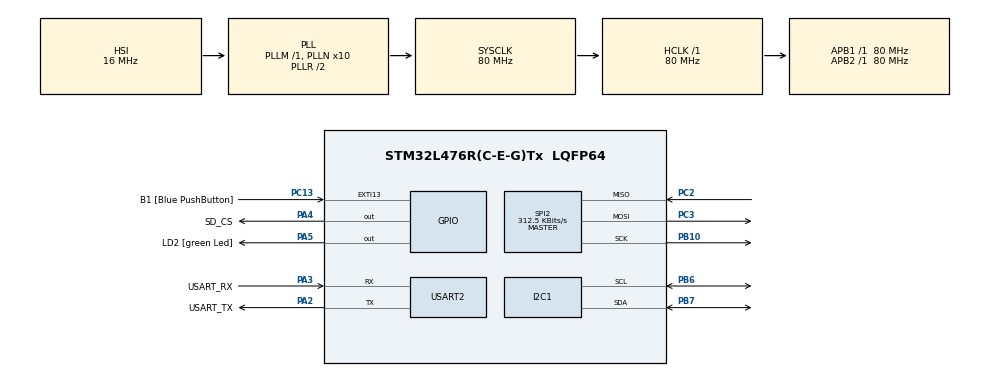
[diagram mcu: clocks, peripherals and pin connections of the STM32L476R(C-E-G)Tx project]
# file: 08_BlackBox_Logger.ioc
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Dma.I2C1_RX.2.Direction=DMA_PERIPH_TO_MEMORY
Dma.I2C1_RX.2.Instance=DMA2_Channel6
Dma.I2C1_RX.2.MemDataAlignment=DMA_MDATAALIGN_BYTE
Dma.I2C1_RX.2.MemInc=DMA_MINC_ENABLE
Dma.I2C1_RX.2.Mode=DMA_NORMAL
Dma.I2C1_RX.2.PeriphDataAlignment=DMA_PDATAALIGN_BYTE
Dma.I2C1_RX.2.PeriphInc=DMA_PINC_DISABLE
Dma.I2C1_RX.2.Priority=DMA_PRIORITY_LOW
Dma.I2C1_TX.3.Direction=DMA_MEMORY_TO_PERIPH
Dma.I2C1_TX.3.Instance=DMA2_Channel7
Dma.I2C1_TX.3.MemDataAlignment=DMA_MDATAALIGN_BYTE
Dma.I2C1_TX.3.MemInc=DMA_MINC_ENABLE
Dma.I2C1_TX.3.Mode=DMA_NORMAL
Dma.I2C1_TX.3.PeriphDataAlignment=DMA_PDATAALIGN_BYTE
Dma.I2C1_TX.3.PeriphInc=DMA_PINC_DISABLE
Dma.I2C1_TX.3.Priority=DMA_PRIORITY_LOW
Dma.Request0=USART2_RX
Dma.Request1=USART2_TX
Dma.Request2=I2C1_RX
Dma.Request3=I2C1_TX
Dma.Request4=SPI2_RX
Dma.Request5=SPI2_TX
Dma.SPI2_RX.4.Direction=DMA_PERIPH_TO_MEMORY
Dma.SPI2_RX.4.Instance=DMA1_Channel4
Dma.SPI2_RX.4.MemDataAlignment=DMA_MDATAALIGN_BYTE
Dma.SPI2_RX.4.MemInc=DMA_MINC_ENABLE
Dma.SPI2_RX.4.Mode=DMA_NORMAL
Dma.SPI2_RX.4.PeriphDataAlignment=DMA_PDATAALIGN_BYTE
Dma.SPI2_RX.4.PeriphInc=DMA_PINC_DISABLE
Dma.SPI2_RX.4.Priority=DMA_PRIORITY_LOW
Dma.SPI2_TX.5.Direction=DMA_MEMORY_TO_PERIPH
Dma.SPI2_TX.5.Instance=DMA1_Channel5
Dma.SPI2_TX.5.MemDataAlignment=DMA_MDATAALIGN_BYTE
Dma.SPI2_TX.5.MemInc=DMA_MINC_ENABLE
Dma.SPI2_TX.5.Mode=DMA_NORMAL
Dma.SPI2_TX.5.PeriphDataAlignment=DMA_PDATAALIGN_BYTE
Dma.SPI2_TX.5.PeriphInc=DMA_PINC_DISABLE
Dma.SPI2_TX.5.Priority=DMA_PRIORITY_LOW
Dma.USART2_RX.0.Direction=DMA_PERIPH_TO_MEMORY
Dma.USART2_RX.0.Instance=DMA1_Channel6
Dma.USART2_RX.0.MemDataAlignment=DMA_MDATAALIGN_BYTE
Dma.USART2_RX.0.MemInc=DMA_MINC_ENABLE
Dma.USART2_RX.0.Mode=DMA_NORMAL
Dma.USART2_RX.0.PeriphDataAlignment=DMA_PDATAALIGN_BYTE
Dma.USART2_RX.0.PeriphInc=DMA_PINC_DISABLE
Dma.USART2_RX.0.Priority=DMA_PRIORITY_LOW
Dma.USART2_TX.1.Direction=DMA_MEMORY_TO_PERIPH
Dma.USART2_TX.1.Instance=DMA1_Channel7
Dma.USART2_TX.1.MemDataAlignment=DMA_MDATAALIGN_BYTE
Dma.USART2_TX.1.MemInc=DMA_MINC_ENABLE
Dma.USART2_TX.1.Mode=DMA_NORMAL
Dma.USART2_TX.1.PeriphDataAlignment=DMA_PDATAALIGN_BYTE
Dma.USART2_TX.1.PeriphInc=DMA_PINC_DISABLE
Dma.USART2_TX.1.Priority=DMA_PRIORITY_LOW
FATFS._MAX_SS=4096
I2C1.Timing=0x10D19CE4
Mcu.Family=STM32L4
Mcu.Name=STM32L476R(C-E-G)Tx
Mcu.Package=LQFP64
NVIC.DMA1_Channel4_IRQn=true\:0\:0\:false\:false\:true\:false\:true\:true
NVIC.DMA1_Channel5_IRQn=true\:0\:0\:false\:false\:true\:false\:true\:true
NVIC.DMA1_Channel6_IRQn=true\:0\:0\:false\:false\:true\:false\:true\:true
NVIC.DMA1_Channel7_IRQn=true\:0\:0\:false\:false\:true\:false\:true\:true
NVIC.DMA2_Channel6_IRQn=true\:0\:0\:false\:false\:true\:false\:true\:true
NVIC.DMA2_Channel7_IRQn=true\:0\:0\:false\:false\:true\:false\:true\:true
NVIC.I2C1_ER_IRQn=true\:0\:0\:false\:false\:true\:true\:true\:true
NVIC.I2C1_EV_IRQn=true\:0\:0\:false\:false\:true\:true\:true\:true
NVIC.PriorityGroup=NVIC_PRIORITYGROUP_4
NVIC.SPI2_IRQn=true\:0\:0\:false\:false\:true\:true\:true\:true
NVIC.USART2_IRQn=true\:0\:0\:false\:false\:true\:true\:true\:true
PA13\ (JTMS-SWDIO).GPIO_Label=TMS
PA13\ (JTMS-SWDIO).Mode=Serial_Wire
PA13\ (JTMS-SWDIO).Signal=SYS_JTMS-SWDIO
PA14\ (JTCK-SWCLK).GPIO_Label=TCK
PA14\ (JTCK-SWCLK).Mode=Serial_Wire
PA14\ (JTCK-SWCLK).Signal=SYS_JTCK-SWCLK
PA2.GPIO_Label=USART_TX
PA2.GPIO_Mode=GPIO_MODE_AF_PP
PA2.GPIO_PuPd=GPIO_NOPULL
PA2.GPIO_Speed=GPIO_SPEED_FREQ_VERY_HIGH
PA2.Mode=Asynchronous
PA2.Signal=USART2_TX
PA3.GPIO_Label=USART_RX
PA3.GPIO_Mode=GPIO_MODE_AF_PP
PA3.GPIO_PuPd=GPIO_NOPULL
PA3.GPIO_Speed=GPIO_SPEED_FREQ_VERY_HIGH
PA3.Mode=Asynchronous
PA3.Signal=USART2_RX
PA4.GPIO_Label=SD_CS
PA4.Signal=GPIO_Output
PA5.GPIO_Label=LD2 [green Led]
PA5.GPIO_ModeDefaultOutputPP=GPIO_MODE_OUTPUT_PP
PA5.GPIO_PuPd=GPIO_NOPULL
PA5.GPIO_Speed=GPIO_SPEED_FREQ_LOW
PA5.Signal=GPIO_Output
PB10.Mode=Full_Duplex_Master
PB10.Signal=SPI2_SCK
PB3\ (JTDO-TRACESWO).GPIO_Label=SWO
PB3\ (JTDO-TRACESWO).Signal=SYS_JTDO-SWO
PB6.Mode=I2C
PB6.Signal=I2C1_SCL
PB7.Mode=I2C
PB7.Signal=I2C1_SDA
PC13.GPIO_Label=B1 [Blue PushButton]
PC13.GPIO_ModeDefaultEXTI=GPIO_MODE_IT_FALLING
PC13.GPIO_PuPd=GPIO_NOPULL
PC13.Signal=GPXTI13
PC14-OSC32_IN\ (PC14).Mode=LSE-External-Oscillator
PC14-OSC32_IN\ (PC14).Signal=RCC_OSC32_IN
PC15-OSC32_OUT\ (PC15).Mode=LSE-External-Oscillator
PC15-OSC32_OUT\ (PC15).Signal=RCC_OSC32_OUT
PC2.Mode=Full_Duplex_Master
PC2.Signal=SPI2_MISO
PC3.Mode=Full_Duplex_Master
PC3.Signal=SPI2_MOSI
PH0-OSC_IN\ (PH0).Signal=RCC_OSC_IN
PH1-OSC_OUT\ (PH1).Signal=RCC_OSC_OUT
ProjectManager.HeapSize=0x200
ProjectManager.StackSize=0x400
ProjectManager.TargetToolchain=STM32CubeIDE
RCC.ADCFreq_Value=64000000
RCC.AHBFreq_Value=80000000
RCC.APB1Freq_Value=80000000
RCC.APB1TimFreq_Value=80000000
RCC.APB2Freq_Value=80000000
RCC.APB2TimFreq_Value=80000000
RCC.CortexFreq_Value=80000000
RCC.HCLKFreq_Value=80000000
RCC.HSE_VALUE=8000000
RCC.HSI_VALUE=16000000
RCC.MSI_VALUE=4000000
RCC.PLLN=10
RCC.PLLSourceVirtual=RCC_PLLSOURCE_HSI
RCC.PREFETCH_ENABLE=1
RCC.SYSCLKFreq_VALUE=80000000
RCC.SYSCLKSource=RCC_SYSCLKSOURCE_PLLCLK
RCC.USBFreq_Value=64000000
RCC.VCOOutputFreq_Value=160000000
SPI2.BaudRatePrescaler=SPI_BAUDRATEPRESCALER_256
SPI2.CalculateBaudRate=312.5 KBits/s
SPI2.DataSize=SPI_DATASIZE_8BIT
SPI2.Direction=SPI_DIRECTION_2LINES
SPI2.Mode=SPI_MODE_MASTER
SPI2.VirtualType=VM_MASTER
USART2.VirtualMode-Asynchronous=VM_ASYNC
VP_FATFS_VS_Generic.Mode=User_defined
board=NUCLEO-L476RG

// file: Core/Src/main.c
/* USER CODE BEGIN Header */
/**
  ******************************************************************************
  * @file           : main.c
  * @brief          : Main program body
  ******************************************************************************
  * @attention
  *
  * Copyright (c) 2026 STMicroelectronics.
  * All rights reserved.
  *
  * This software is licensed under terms that can be found in the LICENSE file
  * in the root directory of this software component.
  * If no LICENSE file comes with this software, it is provided AS-IS.
  *
  ******************************************************************************
  */
/* USER CODE END Header */
#include "main.h"
#include "fatfs.h"

/* USER CODE BEGIN Includes */
#include <stdio.h>
#include <string.h>
/* USER CODE END Includes */

/* USER CODE BEGIN PTD */
typedef enum {
	STATE_IDLE,				// Waiting for a START command from PC
	STATE_READ_TIME,		// Reading time from RTC via I2C
	STATE_TIME_PENDING,		// Resting while DMA does the hardware work
	STATE_READ_SENSOR,		// Reading data from the environmental sensor
	STATE_SENSOR_PENDING, 	// Waiting for IMU data DMA
	STATE_SEND_UART,		// Formatting and triggering UART transmission
	STATE_TX_PENDING,		// Waiting for UART DMA to finish sending
	STATE_ERROR				// Handling system faults
} SystemState_t;

SystemState_t currentState = STATE_IDLE;
/* USER CODE END PTD */

I2C_HandleTypeDef hi2c1;
DMA_HandleTypeDef hdma_i2c1_rx;
DMA_HandleTypeDef hdma_i2c1_tx;

SPI_HandleTypeDef hspi2;
DMA_HandleTypeDef hdma_spi2_rx;
DMA_HandleTypeDef hdma_spi2_tx;

UART_HandleTypeDef huart2;
DMA_HandleTypeDef hdma_usart2_rx;
DMA_HandleTypeDef hdma_usart2_tx;

/* USER CODE BEGIN PV */
uint8_t rx_data;
uint8_t rx_buffer[1];	// Buffer to store a 1-character command (e.g., 'S' for Start)

#define DS1307_ADDR (0x68 << 1)	// DS1307 I2C address (0x68 shifted left by 1 bit for the HAL library)

// Buffers and variables for timekeeping
uint8_t rtc_rx_buffer[3];
uint8_t time_sec, time_min, time_hour;

// MPU9250 Address with AD0 pulled to 3.3V (0x69 shifted left by 1)
#define MPU9250_ADDR (0x69 << 1)

// Array to hold 6 bytes of raw accelerometer data (X, Y, Z axes, 2 bytes each)
uint8_t imu_rx_buffer[6];

// Variables to hold the stitched 16-bit accelerometer data
int16_t accel_x, accel_y, accel_z;

// Buffer to hold our formatted text string
char tx_buffer[100];
/* USER CODE END PV */

void SystemClock_Config(void);
static void MX_GPIO_Init(void);
static void MX_DMA_Init(void);
static void MX_USART2_UART_Init(void);
static void MX_I2C1_Init(void);
static void MX_SPI2_Init(void);

int main(void)
{

  /* MCU Configuration--------------------------------------------------------*/

  /* Reset of all peripherals, Initializes the Flash interface and the Systick. */
  HAL_Init();

  /* Configure the system clock */
  SystemClock_Config();

  /* Initialize all configured peripherals */
  MX_GPIO_Init();
  MX_DMA_Init();
  MX_USART2_UART_Init();
  MX_I2C1_Init();
  MX_SPI2_Init();
  MX_FATFS_Init();
  /* USER CODE BEGIN 2 */
  // Arm the UART DMA to listen for 1 byte in the background
  HAL_UART_Receive_IT(&huart2, (uint8_t *)&rx_data, 1);
  /* USER CODE END 2 */

  /* Infinite loop */
  /* USER CODE BEGIN WHILE */
  while (1)
  {
	  // Main state machine execution
	  switch (currentState)
	  {
	  	  case STATE_IDLE:
	  		  // System is resting, waiting for UART DMA interrupt to trigger a state change
	  		  break;
	  	  case STATE_READ_TIME:
	  		  // Trigger non-blocking I2C read for RTC
	  		  // Ask DMA to read 3 bytes starting from register 0x00
	  		  if (HAL_I2C_Mem_Read_DMA(&hi2c1, DS1307_ADDR, 0x00, 1, rtc_rx_buffer, 3) == HAL_OK)
	  		  {
	  			  // Hardware is busy
	  			  currentState = STATE_TIME_PENDING;
	  		  }
	  		  else
	  		  {
	  			  currentState = STATE_ERROR;
	  		  }
	  		  break;

	  	  case STATE_TIME_PENDING:
	  		  // The CPU does absolutely nothing here
	  		  // We just wait for the I2C DMA hardware interrupt to tap us on the shoulder
	  		  break;
	  	  case STATE_READ_SENSOR:
			  // Trigger non-blocking I2C read for sensor data
	  		  // We ask DMA to grab 6 consecutive bytes (X_High, X_Low, Y_High, Y_Low, Z_High, Z_Low)
	  		  if (HAL_I2C_Mem_Read_DMA(&hi2c1, MPU9250_ADDR, 0x3B, 1, imu_rx_buffer, 6) == HAL_OK)
	  		  {
	  			  currentState = STATE_SENSOR_PENDING;
	  		  }
	  		  else
	  		  {
	  			  currentState = STATE_ERROR;
	  		  }
	  		  break;

	  	  case STATE_SENSOR_PENDING:
	  		  // CPU rests here while DMA pulls the 6 bytes from the IMU
	  		  break;
	  	  case STATE_SEND_UART:
	  		  // Format data into human-readable string
	  		  // %02d ensures single digits get a leading zero (e.g., "09" instead of "9")
	  		  snprintf(tx_buffer, sizeof(tx_buffer), "Time: %02d:%02d:%02d | X:%d, Y:%d, Z:%d\r\n",
	  				  time_hour, time_min, time_sec, accel_x, accel_y, accel_z);

	  		  // Ask the DMA to send it over USB cable to the PC
	  		  if (HAL_UART_Transmit_DMA(&huart2, (uint8_t*)tx_buffer, strlen(tx_buffer)) == HAL_OK)
	  		  {
	  			  // Shift to pending state so the CPU doesn't freeze while sending
	  			  currentState = STATE_TX_PENDING;
	  		  }
	  		  else
	  		  {
	  			  currentState = STATE_ERROR;
	  		  }
	  		  break;
	  	  case STATE_TX_PENDING:

	  		  break;
	  	  case STATE_ERROR:
	  		  // Turn on red LED, halt system or wait for watchdog reset
	  		  // Blast an error message to the PC so we know it failed!
			  sprintf(tx_buffer, "HARDWARE FAULT: I2C failed to read.\r\n");
			  HAL_UART_Transmit(&huart2, (uint8_t*)tx_buffer, strlen(tx_buffer), 1000);
	  		  break;
	  }
    /* USER CODE END WHILE */

  }
}

void SystemClock_Config(void)
{
  RCC_OscInitTypeDef RCC_OscInitStruct = {0};
  RCC_ClkInitTypeDef RCC_ClkInitStruct = {0};

  /** Configure the main internal regulator output voltage
  */
  if (HAL_PWREx_ControlVoltageScaling(PWR_REGULATOR_VOLTAGE_SCALE1) != HAL_OK)
  {
    Error_Handler();
  }

  /** Initializes the RCC Oscillators according to the specified parameters
  * in the RCC_OscInitTypeDef structure.
  */
  RCC_OscInitStruct.OscillatorType = RCC_OSCILLATORTYPE_HSI;
  RCC_OscInitStruct.HSIState = RCC_HSI_ON;
  RCC_OscInitStruct.HSICalibrationValue = RCC_HSICALIBRATION_DEFAULT;
  RCC_OscInitStruct.PLL.PLLState = RCC_PLL_ON;
  RCC_OscInitStruct.PLL.PLLSource = RCC_PLLSOURCE_HSI;
  RCC_OscInitStruct.PLL.PLLM = 1;
  RCC_OscInitStruct.PLL.PLLN = 10;
  RCC_OscInitStruct.PLL.PLLP = RCC_PLLP_DIV7;
  RCC_OscInitStruct.PLL.PLLQ = RCC_PLLQ_DIV2;
  RCC_OscInitStruct.PLL.PLLR = RCC_PLLR_DIV2;
  if (HAL_RCC_OscConfig(&RCC_OscInitStruct) != HAL_OK)
  {
    Error_Handler();
  }

  /** Initializes the CPU, AHB and APB buses clocks
  */
  RCC_ClkInitStruct.ClockType = RCC_CLOCKTYPE_HCLK|RCC_CLOCKTYPE_SYSCLK
                              |RCC_CLOCKTYPE_PCLK1|RCC_CLOCKTYPE_PCLK2;
  RCC_ClkInitStruct.SYSCLKSource = RCC_SYSCLKSOURCE_PLLCLK;
  RCC_ClkInitStruct.AHBCLKDivider = RCC_SYSCLK_DIV1;
  RCC_ClkInitStruct.APB1CLKDivider = RCC_HCLK_DIV1;
  RCC_ClkInitStruct.APB2CLKDivider = RCC_HCLK_DIV1;

  if (HAL_RCC_ClockConfig(&RCC_ClkInitStruct, FLASH_LATENCY_4) != HAL_OK)
  {
    Error_Handler();
  }
}

static void MX_I2C1_Init(void)
{

  hi2c1.Instance = I2C1;
  hi2c1.Init.Timing = 0x10D19CE4;
  hi2c1.Init.OwnAddress1 = 0;
  hi2c1.Init.AddressingMode = I2C_ADDRESSINGMODE_7BIT;
  hi2c1.Init.DualAddressMode = I2C_DUALADDRESS_DISABLE;
  hi2c1.Init.OwnAddress2 = 0;
  hi2c1.Init.OwnAddress2Masks = I2C_OA2_NOMASK;
  hi2c1.Init.GeneralCallMode = I2C_GENERALCALL_DISABLE;
  hi2c1.Init.NoStretchMode = I2C_NOSTRETCH_DISABLE;
  if (HAL_I2C_Init(&hi2c1) != HAL_OK)
  {
    Error_Handler();
  }

  /** Configure Analogue filter
  */
  if (HAL_I2CEx_ConfigAnalogFilter(&hi2c1, I2C_ANALOGFILTER_ENABLE) != HAL_OK)
  {
    Error_Handler();
  }

  /** Configure Digital filter
  */
  if (HAL_I2CEx_ConfigDigitalFilter(&hi2c1, 0) != HAL_OK)
  {
    Error_Handler();
  }

}

static void MX_SPI2_Init(void)
{

  /* SPI2 parameter configuration*/
  hspi2.Instance = SPI2;
  hspi2.Init.Mode = SPI_MODE_MASTER;
  hspi2.Init.Direction = SPI_DIRECTION_2LINES;
  hspi2.Init.DataSize = SPI_DATASIZE_8BIT;
  hspi2.Init.CLKPolarity = SPI_POLARITY_LOW;
  hspi2.Init.CLKPhase = SPI_PHASE_1EDGE;
  hspi2.Init.NSS = SPI_NSS_SOFT;
  hspi2.Init.BaudRatePrescaler = SPI_BAUDRATEPRESCALER_256;
  hspi2.Init.FirstBit = SPI_FIRSTBIT_MSB;
  hspi2.Init.TIMode = SPI_TIMODE_DISABLE;
  hspi2.Init.CRCCalculation = SPI_CRCCALCULATION_DISABLE;
  hspi2.Init.CRCPolynomial = 7;
  hspi2.Init.CRCLength = SPI_CRC_LENGTH_DATASIZE;
  hspi2.Init.NSSPMode = SPI_NSS_PULSE_ENABLE;
  if (HAL_SPI_Init(&hspi2) != HAL_OK)
  {
    Error_Handler();
  }

}

static void MX_USART2_UART_Init(void)
{

  huart2.Instance = USART2;
  huart2.Init.BaudRate = 115200;
  huart2.Init.WordLength = UART_WORDLENGTH_8B;
  huart2.Init.StopBits = UART_STOPBITS_1;
  huart2.Init.Parity = UART_PARITY_NONE;
  huart2.Init.Mode = UART_MODE_TX_RX;
  huart2.Init.HwFlowCtl = UART_HWCONTROL_NONE;
  huart2.Init.OverSampling = UART_OVERSAMPLING_16;
  huart2.Init.OneBitSampling = UART_ONE_BIT_SAMPLE_DISABLE;
  huart2.AdvancedInit.AdvFeatureInit = UART_ADVFEATURE_NO_INIT;
  if (HAL_UART_Init(&huart2) != HAL_OK)
  {
    Error_Handler();
  }

}

static void MX_DMA_Init(void)
{

  /* DMA controller clock enable */
  __HAL_RCC_DMA1_CLK_ENABLE();
  __HAL_RCC_DMA2_CLK_ENABLE();

  /* DMA interrupt init */
  /* DMA1_Channel4_IRQn interrupt configuration */
  HAL_NVIC_SetPriority(DMA1_Channel4_IRQn, 0, 0);
  HAL_NVIC_EnableIRQ(DMA1_Channel4_IRQn);
  /* DMA1_Channel5_IRQn interrupt configuration */
  HAL_NVIC_SetPriority(DMA1_Channel5_IRQn, 0, 0);
  HAL_NVIC_EnableIRQ(DMA1_Channel5_IRQn);
  /* DMA1_Channel6_IRQn interrupt configuration */
  HAL_NVIC_SetPriority(DMA1_Channel6_IRQn, 0, 0);
  HAL_NVIC_EnableIRQ(DMA1_Channel6_IRQn);
  /* DMA1_Channel7_IRQn interrupt configuration */
  HAL_NVIC_SetPriority(DMA1_Channel7_IRQn, 0, 0);
  HAL_NVIC_EnableIRQ(DMA1_Channel7_IRQn);
  /* DMA2_Channel6_IRQn interrupt configuration */
  HAL_NVIC_SetPriority(DMA2_Channel6_IRQn, 0, 0);
  HAL_NVIC_EnableIRQ(DMA2_Channel6_IRQn);
  /* DMA2_Channel7_IRQn interrupt configuration */
  HAL_NVIC_SetPriority(DMA2_Channel7_IRQn, 0, 0);
  HAL_NVIC_EnableIRQ(DMA2_Channel7_IRQn);

}

static void MX_GPIO_Init(void)
{
  GPIO_InitTypeDef GPIO_InitStruct = {0};

  /* GPIO Ports Clock Enable */
  __HAL_RCC_GPIOC_CLK_ENABLE();
  __HAL_RCC_GPIOH_CLK_ENABLE();
  __HAL_RCC_GPIOA_CLK_ENABLE();
  __HAL_RCC_GPIOB_CLK_ENABLE();

  /*Configure GPIO pin Output Level */
  HAL_GPIO_WritePin(GPIOA, SD_CS_Pin|LD2_Pin, GPIO_PIN_RESET);

  /*Configure GPIO pin : B1_Pin */
  GPIO_InitStruct.Pin = B1_Pin;
  GPIO_InitStruct.Mode = GPIO_MODE_IT_FALLING;
  GPIO_InitStruct.Pull = GPIO_NOPULL;
  HAL_GPIO_Init(B1_GPIO_Port, &GPIO_InitStruct);

  /*Configure GPIO pins : SD_CS_Pin LD2_Pin */
  GPIO_InitStruct.Pin = SD_CS_Pin|LD2_Pin;
  GPIO_InitStruct.Mode = GPIO_MODE_OUTPUT_PP;
  GPIO_InitStruct.Pull = GPIO_NOPULL;
  GPIO_InitStruct.Speed = GPIO_SPEED_FREQ_LOW;
  HAL_GPIO_Init(GPIOA, &GPIO_InitStruct);

}

/* USER CODE BEGIN 4 */
// This callback fires automatically in the background when a byte is received
// ---------------------------------------------------------
// UART INTERRUPT CALLBACK (Wakes system up)
// ---------------------------------------------------------
void HAL_UART_RxCpltCallback(UART_HandleTypeDef *huart)
{
	if (huart->Instance == USART2)
	{
		// Check which character was sent from the PC
		if (rx_data == 'S')
		{
			// 'S' for Start logging: transition to the first active state
			currentState = STATE_READ_TIME;
		}
		else if (rx_data == 'X')
		{
			// 'X' for Stop logging: force the system back to idle
			currentState = STATE_IDLE;
		}

		// Re-arm the listener for the NEXT command you type
		HAL_UART_Receive_IT(&huart2, (uint8_t *)&rx_data, 1);
	}
}

// ---------------------------------------------------------
// I2C INTERRUPT CALLBACK (Fires when time is fetched)
// ---------------------------------------------------------
void HAL_I2C_MemRxCpltCallback(I2C_HandleTypeDef *hi2c)
{
	if (hi2c->Instance == I2C1)
	{
		// Did the DMA just finish fetching the time?
		if (currentState == STATE_TIME_PENDING)
		{
			// Convert the raw BCD (Binary-Coded Decimal) data into human-readable numbers
			time_sec = ((rtc_rx_buffer[0] >> 4) * 10) + (rtc_rx_buffer[0] & 0x0F);
			time_min = ((rtc_rx_buffer[1] >> 4) * 10) + (rtc_rx_buffer[1] & 0x0F);
			time_hour = ((rtc_rx_buffer[2] >> 4) * 10) + (rtc_rx_buffer[2] & 0x0F);

			currentState = STATE_READ_SENSOR;
		}
		// Or did the DMA just finish fetching the IMU data?
		else if (currentState == STATE_SENSOR_PENDING)
		{
			// Stitch the High and Low bytes together using Bitwise Left Shift (<<) and OR (|)
			accel_x = (int16_t)((imu_rx_buffer[0] << 8) | imu_rx_buffer[1]);
			accel_y = (int16_t)((imu_rx_buffer[2] << 8) | imu_rx_buffer[3]);
			accel_z = (int16_t)((imu_rx_buffer[4] << 8) | imu_rx_buffer[5]);

			// Data fully processed
			currentState = STATE_SEND_UART;
		}
	}
}

// ---------------------------------------------------------
// UART TX INTERRUPT CALLBACK (Fires when PC receives data)
// ---------------------------------------------------------
void HAL_UART_TxCpltCallback(UART_HandleTypeDef *huart)
{
    if (huart->Instance == USART2)
    {
        if (currentState == STATE_TX_PENDING)
        {
            // The text was sent! Loop back to grab the next reading.
            currentState = STATE_READ_TIME;
        }
    }
}
/* USER CODE END 4 */

void Error_Handler(void)
{
  __disable_irq();
  while (1)
  {
  }
}
